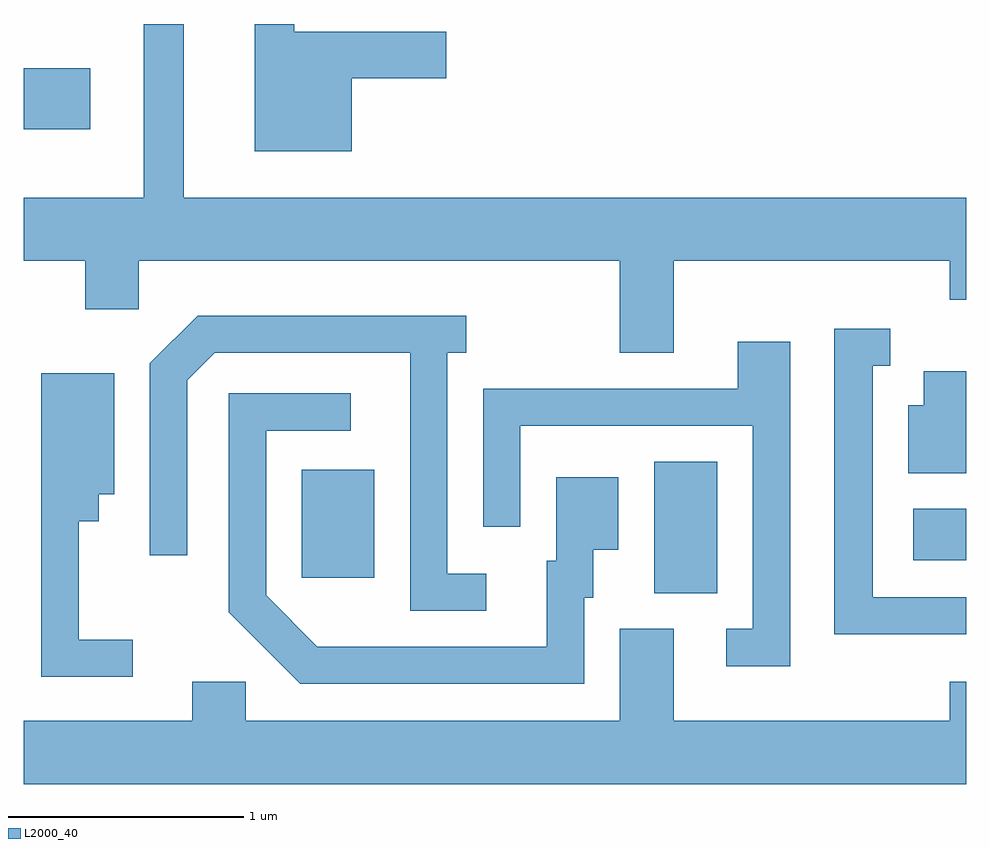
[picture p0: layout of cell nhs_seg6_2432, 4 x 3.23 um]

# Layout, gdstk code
import gdstk
lib = gdstk.Library(unit=1e-6, precision=1e-09)
def R(c, l, rs):  # rectangles x0, y0, x1, y1
    for r in rs: c.add(gdstk.rectangle(r[:2], r[2:], *l))
def P(c, l, *ps):  # polygons
    for p in ps: c.add(gdstk.Polygon(p, *l))
L2000_40 = (2000, 40)

nhs_seg6_2432 = lib.new_cell('nhs_seg6_2432')
R(nhs_seg6_2432, L2000_40, [(262.286,1539.746,262.554,1540.304), (260.791,1539.811,261.099,1540.269), (263.386,1539.886,263.611,1540.104), (259.611,1541.716,259.894,1541.974)])
P(nhs_seg6_2432, L2000_40, [(262.369,1541.156),(263.541,1541.156),(263.541,1540.991),(263.611,1540.991),(263.611,1541.424),(260.289,1541.424),(260.289,1542.162),(260.121,1542.162),(260.121,1541.424),(259.611,1541.424),(259.611,1541.156),(259.871,1541.156),(259.871,1540.951),(260.099,1540.951),(260.099,1541.156),(262.141,1541.156),(262.141,1540.766),(262.369,1540.766)],
  [(261.004,1541.931),(261.404,1541.931),(261.404,1542.129),(260.759,1542.129),(260.759,1542.162),(260.591,1542.162),(260.591,1541.621),(261.004,1541.621)],
  [(261.573,1539.829),(261.409,1539.829),(261.409,1540.766),(261.488,1540.766),(261.488,1540.924),(260.349,1540.924),(260.146,1540.722),(260.146,1539.908),(260.304,1539.908),(260.304,1540.649),(260.421,1540.766),(261.251,1540.766),(261.251,1539.671),(261.573,1539.671)],
  [(263.611,1539.729),(263.214,1539.729),(263.214,1540.711),(263.288,1540.711),(263.288,1540.869),(263.051,1540.869),(263.051,1539.571),(263.611,1539.571)],
  [(262.864,1540.814),(262.641,1540.814),(262.641,1540.614),(261.561,1540.614),(261.561,1540.028),(261.719,1540.028),(261.719,1540.456),(262.706,1540.456),(262.706,1539.594),(262.593,1539.594),(262.593,1539.436),(262.864,1539.436)],
  [(263.611,1540.689),(263.431,1540.689),(263.431,1540.544),(263.366,1540.544),(263.366,1540.256),(263.611,1540.256)],
  [(260.073,1539.549),(259.844,1539.549),(259.844,1540.051),(259.929,1540.051),(259.929,1540.166),(259.994,1540.166),(259.994,1540.679),(259.686,1540.679),(259.686,1539.391),(260.073,1539.391)],
  [(261.989,1539.726),(262.029,1539.726),(262.029,1539.931),(262.134,1539.931),(262.134,1540.239),(261.871,1540.239),(261.871,1539.884),(261.831,1539.884),(261.831,1539.519),(260.856,1539.519),(260.639,1539.737),(260.639,1540.436),(260.998,1540.436),(260.998,1540.594),(260.481,1540.594),(260.481,1539.664),(260.784,1539.361),(261.989,1539.361)],
  [(263.611,1539.369),(263.541,1539.369),(263.541,1539.204),(262.369,1539.204),(262.369,1539.594),(262.141,1539.594),(262.141,1539.204),(260.554,1539.204),(260.554,1539.369),(260.326,1539.369),(260.326,1539.204),(259.611,1539.204),(259.611,1538.936),(263.611,1538.936)])

lib.write_gds('nhs_seg6_2432.gds')
